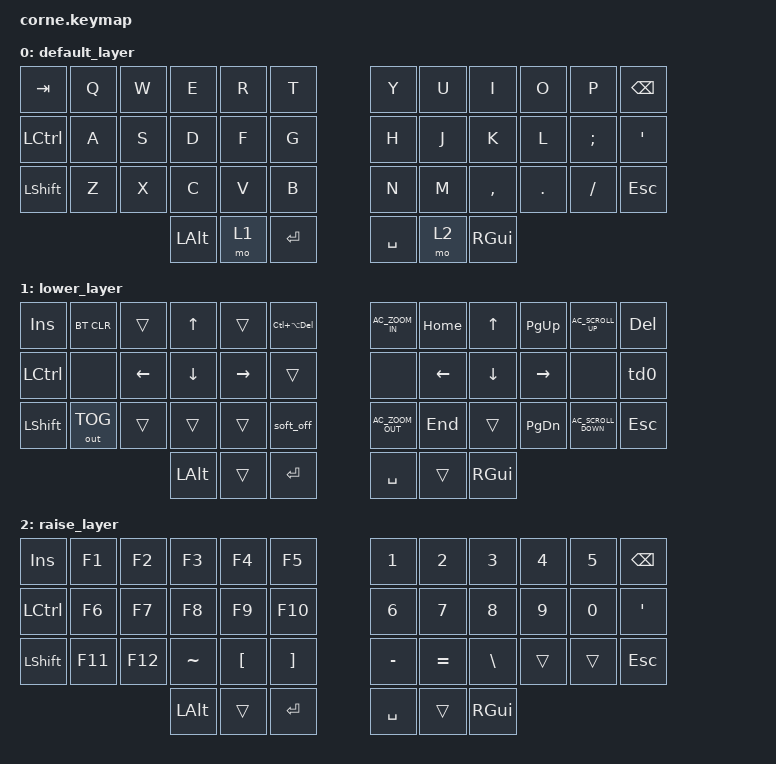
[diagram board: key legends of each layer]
/*
 * Copyright (c) 2020 The ZMK Contributors
 *
 * SPDX-License-Identifier: MIT
 */

#include <behaviors.dtsi>
#include <dt-bindings/zmk/keys.h>
#include <dt-bindings/zmk/bt.h>
#include <dt-bindings/zmk/outputs.h>


/ {
	behaviors {
		td0: tap_dance_0 {
			compatible = "zmk,behavior-tap-dance";
			label = "TAP_DANCE_0";
                        #binding-cells = <0>;
			tapping-term-ms = <300>;
			bindings = <&bt BT_SEL 0>, <&bt BT_SEL 1>, <&bt BT_SEL 2>, <&bt BT_SEL 3>, <&bt BT_SEL 4>;
		};
	};   

        keymap {
                compatible = "zmk,keymap";

                default_layer {
// -----------------------------------------------------------------------------------------
// |  TAB |  Q  |  W  |  E  |  R  |  T  |   |  Y  |  U   |  I  |  O  |  P  | BKSP |
// | CTRL |  A  |  S  |  D  |  F  |  G  |   |  H  |  J   |  K  |  L  |  ;  |  '   |
// | SHFT |  Z  |  X  |  C  |  V  |  B  |   |  N  |  M   |  ,  |  .  |  /  | ESC  |
//                    | ALT | LWR | ENT |   | SPC | RSE  | GUI |
                        bindings = <
   &kp TAB   &kp Q &kp W &kp E &kp R &kp T   &kp Y &kp U  &kp I     &kp O    &kp P    &kp BSPC
   &kp LCTRL &kp A &kp S &kp D &kp F &kp G   &kp H &kp J  &kp K     &kp L    &kp SEMI &kp SQT
   &kp LSHFT &kp Z &kp X &kp C &kp V &kp B   &kp N &kp M  &kp COMMA &kp DOT  &kp FSLH &kp ESC
                  &kp LALT &mo 1 &kp RET   &kp SPACE &mo 2 &kp RGUI
                        >;
                };
                lower_layer {
// -----------------------------------------------------------------------------------------
// | INS   |  BTCLR   |     |  UP |     |  CAD |   |  Zoom In  |  HOME  |  UP  |  PG_UP  |  Scroll Up  | DEL |
// | CTRL  |          | LFT | DWN | RGT |      |   |           |  LFT   |  DWN |  RGT    |             | TD0 |
// | SHFT  |  BT Tog  |     |     |     |      |   |  Zoom Out |  END   |      | PG_Down |  Scrool Dn  | ESC |
//                    | ALT |     | ENT |   | SPC |     | GUI |
                        bindings = <
   &kp INS    &bt BT_CLR   &trans     &kp UP       &trans     &kp LC(LA(DEL))     &kp C_AC_ZOOM_IN   &kp HOME  &kp UP     &kp PG_UP  &kp C_AC_SCROLL_UP   &kp DEL
   &kp LCTRL  &none        &kp LEFT   &kp DOWN     &kp RIGHT  &trans     &none              &kp LEFT  &kp DOWN  &kp RIGHT  &none                &td0
   &kp LSHFT  &out OUT_TOG &trans     &trans       &trans     &soft_off     &kp C_AC_ZOOM_OUT  &kp END   &trans    &kp PG_DN  &kp C_AC_SCROLL_DOWN &kp ESC
                       	     &kp LALT     &trans     &kp RET    &kp SPACE  &trans   &kp RGUI
                        >;
                };

                raise_layer {
// -----------------------------------------------------------------------------------------
// | INS  |  F1  |  F2  |  F3  |  F4  |  F5  |   |  1 !  |  2 @  |  3 #  |  4 $  |  5 %  | BKSP |
// | CTRL |  F6  |  F7  |  F8  |  F9  |  F10 |   |  6 ^  |  7 &  |  8 *  |  9 )  |  0 )  |  '   |
// | SHFT |  F11 |  F12 |  ~   |   [  |   ]   |  |  -   |  =  |  \  |     |     |  ESC   |
//                    | ALT |     | ENT |   | SPC |     | GUI |
                        bindings = <
   &kp INS   &kp F1   &kp F2   &kp F3     &kp F4    &kp F5    &kp N1    &kp N2    &kp N3   &kp N4   &kp N5   &kp BSPC
   &kp LCTRL &kp F6   &kp F7   &kp F8     &kp F9    &kp F10   &kp N6    &kp N7    &kp N8   &kp N9   &kp N0   &kp SQT
   &kp LSHFT &kp F11  &kp F12  &kp TILDE  &kp LBKT  &kp RBKT  &kp MINUS &kp EQUAL &kp BSLH &trans   &trans   &kp ESC
                    	      &kp LALT &trans   &kp RET   &kp SPACE   &trans    &kp RGUI
                        >;
                };
        };
};
